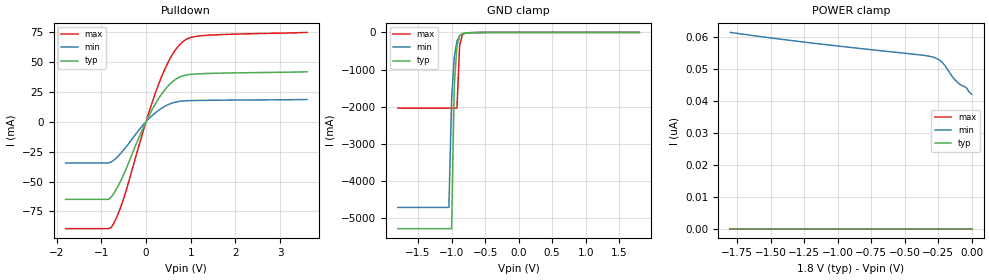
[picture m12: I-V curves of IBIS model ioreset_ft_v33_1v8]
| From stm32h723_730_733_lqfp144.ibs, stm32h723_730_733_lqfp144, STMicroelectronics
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||   Model ioreset_ft_v33_1v8
[Model]  ioreset_ft_v33_1v8
Model_type I/O_open_drain
Polarity   Inverting
Enable   Active-High
Vinl =   0.540000V
Vinh =   1.260000V
Vmeas =  0.900000V
Cref =   30.000000pF
Rref =   50.000000
Vref =   1.600000V
C_comp   2.738300pF   2.734100pF   2.794100pF
[Temperature Range]   25.000000   0.140000k   -40.000000
[Pullup Reference]   1.800000V   1.600000V   2.000000V
[Pulldown Reference]   0.0V   0.0V   0.0V
[POWER Clamp Reference]   1.800000V   1.600000V   2.000000V
[GND Clamp Reference]   0.0V   0.0V   0.0V
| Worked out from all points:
|   slope of the pulldown table from 0 to 0.27 V, typ, clamps not added: 14.5 ohm
|   GND clamp passes 1 mA (typ) near -0.49 V on its own axis
[Pulldown]
|Voltage   I(typ)   I(min)   I(max)
-1.8V     -64.86mA   -34.49mA   -89.34mA
-840mV    -64.86mA   -34.49mA   -89.34mA
-780mV    -63.02mA   -33.74mA   -88.51mA
-660mV    -56.09mA   -30.15mA   -79.98mA
-540mV    -47.38mA   -25.35mA   -68.57mA
-60mV     -4.803mA   -2.495mA   -7.416mA
300mV     20.37mA    10mA       33.08mA
600mV     33.55mA    15.69mA    56.68mA
840mV     38.43mA    17.27mA    67.23mA
1.02V     39.5mA     17.55mA    70.43mA
1.32V     40.1mA     17.76mA    71.94mA
3.6V      41.59mA    18.44mA    74.47mA
[GND_clamp]
|Voltage   I(typ)   I(min)   I(max)
-1.8V     -5.279A    -4.707A    -2.038A
-1.04V    -5.279A    -4.707A    -2.038A
-1V       -5.279A    -1.816A    -2.038A
-960mV    -1.443A    -671.6mA   -2.038A
-920mV    -368.1mA   -241.4mA   -2.038A
-880mV    -95.78mA   -89.36mA   -359.4mA
-840mV    -32.05mA   -36.89mA   -67.59mA
-800mV    -16.14mA   -18.39mA   -21.95mA
-760mV    -10.93mA   -11.34mA   -13.09mA
-520mV    -1.545mA   -2.04mA    -1.464mA
1.8V      0A         41.4nA     0A
[POWER_clamp]
|Voltage   I(typ)   I(min)   I(max)
-1.8V     0A         61.51nA    0A
-1.26V    0A         58.53nA    0A
-300mV    0A         53.89nA    0A
-260mV    0A         53.33nA    0A
-220mV    0A         52.14nA    0A
-200mV    0A         51.16nA    0A
-140mV    0A         47.39nA    0A
-120mV    0A         46.42nA    0A
-80mV     0A         45.03nA    0A
-40mV     0A         44.17nA    0A
-20mV     0A         42.89nA    0A
0V        0A         42.13nA    0A
[Ramp]
| variable   typ   min   max
dV/dt_r  1.07965/0.22094u   0.95838/0.16368u   1.19975/0.24229u
dV/dt_f  1.07965/60.00133n   0.95838/60.01826n   1.19975/60.00022n
R_load = 40.000000k
|[Rising Waveform]
|R_fixture= 40.000000k
|V_fixture= 1.800000
|V_fixture_min= 1.600000
|V_fixture_max= 2.000000
||time   V(typ)   V(min)   V(max)
|0.0S   0.575080mV   0.993650mV   0.410170mV
|1.001001uS   0.575080mV   0.993650mV   2.002399V
|2.002002uS   0.575080mV   0.993650mV   2.002800V
|3.003003uS   0.575080mV   0.993660mV   2.002800V
|4.004004uS   0.575080mV   0.993660mV   2.002900V
|5.005005uS   0.575080mV   0.993660mV   2.002900V
|6.006006uS   0.575080mV   0.993660mV   2.002900V
|7.007007uS   0.575080mV   0.993660mV   2.002900V
|8.008008uS   0.575080mV   0.993660mV   2.002900V
|9.009009uS   0.575080mV   0.993660mV   2.002900V
|10.010010uS   0.575080mV   0.993660mV   2.003000V
|11.011011uS   0.575080mV   0.993660mV   2.003000V
|12.012012uS   0.575080mV   0.993660mV   2.003000V
|13.013013uS   0.575080mV   0.993660mV   2.003000V
|14.014014uS   0.575080mV   0.993660mV   2.003000V
|15.015015uS   0.575080mV   0.993660mV   2.003000V
|16.016016uS   0.575080mV   0.993660mV   2.003000V
|17.017017uS   0.575080mV   0.993660mV   2.003000V
|18.018018uS   1.690055V   0.993660mV   2.003000V
|19.019019uS   1.798600V   0.993660mV   2.003000V
|20.020020uS   1.798800V   0.993660mV   2.003000V
|21.021021uS   1.798900V   0.993660mV   2.003000V
|22.022022uS   1.799000V   0.993660mV   2.003000V
|23.023023uS   1.799000V   0.993660mV   2.003000V
|24.024024uS   1.799000V   0.993660mV   2.003000V
|25.025025uS   1.799000V   0.993660mV   2.003000V
|26.026026uS   1.799000V   0.993660mV   2.003000V
|27.027027uS   1.799000V   0.993650mV   2.003000V
|28.028028uS   1.799000V   0.993650mV   2.003000V
|29.029029uS   1.799000V   0.993650mV   2.003000V
|30.030030uS   1.799000V   0.993660mV   2.003000V
|31.031031uS   1.799100V   0.993660mV   2.003000V
|32.032032uS   1.799100V   0.993660mV   2.003000V
|33.033033uS   1.799100V   0.993660mV   2.003000V
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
